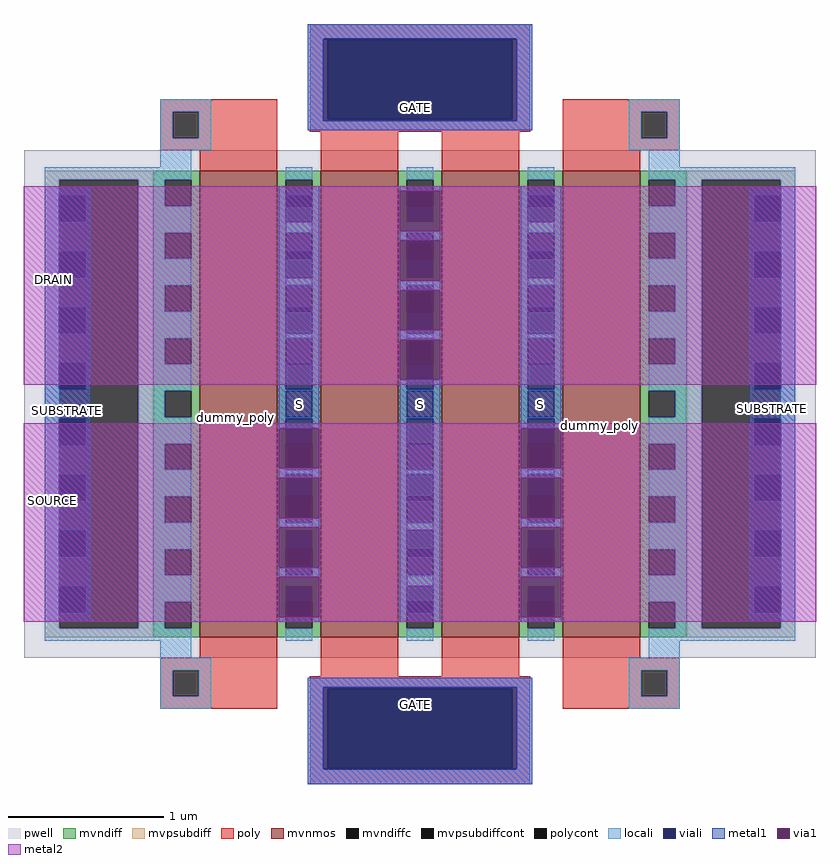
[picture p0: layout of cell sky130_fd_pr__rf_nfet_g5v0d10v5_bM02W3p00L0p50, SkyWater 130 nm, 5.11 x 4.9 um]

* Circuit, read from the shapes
.subckt sky130_fd_pr__rf_nfet_g5v0d10v5_bM02W3p00L0p50 DRAIN GATE SOURCE SUBSTRATE
XM1 SOURCE SUBSTRATE SUBSTRATE SUBSTRATE sky130_fd_pr__nfet_g5v0d10v5 w=3.01 l=0.5 m=2
XM2 DRAIN GATE SOURCE SUBSTRATE sky130_fd_pr__nfet_g5v0d10v5 w=3.01 l=0.5 m=2
.ends

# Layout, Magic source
magic
tech sky130A
magscale 1 2
<< pwell >>
rect 15 163 1035 817
<< mvnmos >>
rect 241 189 341 791
rect 397 189 497 791
rect 553 189 653 791
rect 709 189 809 791
<< mvndiff >>
rect 181 779 241 791
rect 181 745 196 779
rect 230 745 241 779
rect 181 711 241 745
rect 181 677 196 711
rect 230 677 241 711
rect 181 643 241 677
rect 181 609 196 643
rect 230 609 241 643
rect 181 575 241 609
rect 181 541 196 575
rect 230 541 241 575
rect 181 507 241 541
rect 181 473 196 507
rect 230 473 241 507
rect 181 439 241 473
rect 181 405 196 439
rect 230 405 241 439
rect 181 371 241 405
rect 181 337 196 371
rect 230 337 241 371
rect 181 303 241 337
rect 181 269 196 303
rect 230 269 241 303
rect 181 235 241 269
rect 181 201 196 235
rect 230 201 241 235
rect 181 189 241 201
rect 341 779 397 791
rect 341 745 352 779
rect 386 745 397 779
rect 341 711 397 745
rect 341 677 352 711
rect 386 677 397 711
rect 341 643 397 677
rect 341 609 352 643
rect 386 609 397 643
rect 341 575 397 609
rect 341 541 352 575
rect 386 541 397 575
rect 341 507 397 541
rect 341 473 352 507
rect 386 473 397 507
rect 341 439 397 473
rect 341 405 352 439
rect 386 405 397 439
rect 341 371 397 405
rect 341 337 352 371
rect 386 337 397 371
rect 341 303 397 337
rect 341 269 352 303
rect 386 269 397 303
rect 341 235 397 269
rect 341 201 352 235
rect 386 201 397 235
rect 341 189 397 201
rect 497 779 553 791
rect 497 745 508 779
rect 542 745 553 779
rect 497 711 553 745
rect 497 677 508 711
rect 542 677 553 711
rect 497 643 553 677
rect 497 609 508 643
rect 542 609 553 643
rect 497 575 553 609
rect 497 541 508 575
rect 542 541 553 575
rect 497 507 553 541
rect 497 473 508 507
rect 542 473 553 507
rect 497 439 553 473
rect 497 405 508 439
rect 542 405 553 439
rect 497 371 553 405
rect 497 337 508 371
rect 542 337 553 371
rect 497 303 553 337
rect 497 269 508 303
rect 542 269 553 303
rect 497 235 553 269
rect 497 201 508 235
rect 542 201 553 235
rect 497 189 553 201
rect 653 779 709 791
rect 653 745 664 779
rect 698 745 709 779
rect 653 711 709 745
rect 653 677 664 711
rect 698 677 709 711
rect 653 643 709 677
rect 653 609 664 643
rect 698 609 709 643
rect 653 575 709 609
rect 653 541 664 575
rect 698 541 709 575
rect 653 507 709 541
rect 653 473 664 507
rect 698 473 709 507
rect 653 439 709 473
rect 653 405 664 439
rect 698 405 709 439
rect 653 371 709 405
rect 653 337 664 371
rect 698 337 709 371
rect 653 303 709 337
rect 653 269 664 303
rect 698 269 709 303
rect 653 235 709 269
rect 653 201 664 235
rect 698 201 709 235
rect 653 189 709 201
rect 809 779 869 791
rect 809 745 820 779
rect 854 745 869 779
rect 809 711 869 745
rect 809 677 820 711
rect 854 677 869 711
rect 809 643 869 677
rect 809 609 820 643
rect 854 609 869 643
rect 809 575 869 609
rect 809 541 820 575
rect 854 541 869 575
rect 809 507 869 541
rect 809 473 820 507
rect 854 473 869 507
rect 809 439 869 473
rect 809 405 820 439
rect 854 405 869 439
rect 809 371 869 405
rect 809 337 820 371
rect 854 337 869 371
rect 809 303 869 337
rect 809 269 820 303
rect 854 269 869 303
rect 809 235 869 269
rect 809 201 820 235
rect 854 201 869 235
rect 809 189 869 201
<< mvndiffc >>
rect 196 745 230 779
rect 196 677 230 711
rect 196 609 230 643
rect 196 541 230 575
rect 196 473 230 507
rect 196 405 230 439
rect 196 337 230 371
rect 196 269 230 303
rect 196 201 230 235
rect 352 745 386 779
rect 352 677 386 711
rect 352 609 386 643
rect 352 541 386 575
rect 352 473 386 507
rect 352 405 386 439
rect 352 337 386 371
rect 352 269 386 303
rect 352 201 386 235
rect 508 745 542 779
rect 508 677 542 711
rect 508 609 542 643
rect 508 541 542 575
rect 508 473 542 507
rect 508 405 542 439
rect 508 337 542 371
rect 508 269 542 303
rect 508 201 542 235
rect 664 745 698 779
rect 664 677 698 711
rect 664 609 698 643
rect 664 541 698 575
rect 664 473 698 507
rect 664 405 698 439
rect 664 337 698 371
rect 664 269 698 303
rect 664 201 698 235
rect 820 745 854 779
rect 820 677 854 711
rect 820 609 854 643
rect 820 541 854 575
rect 820 473 854 507
rect 820 405 854 439
rect 820 337 854 371
rect 820 269 854 303
rect 820 201 854 235
<< mvpsubdiff >>
rect 41 779 181 791
rect 41 201 60 779
rect 162 201 181 779
rect 41 189 181 201
rect 869 779 1009 791
rect 869 201 888 779
rect 990 201 1009 779
rect 869 189 1009 201
<< mvpsubdiffcont >>
rect 60 201 162 779
rect 888 201 990 779
<< poly >>
rect 383 959 667 980
rect 190 867 341 883
rect 190 833 206 867
rect 240 833 341 867
rect 383 857 406 959
rect 644 857 667 959
rect 383 841 667 857
rect 709 867 860 883
rect 190 817 341 833
rect 241 791 341 817
rect 397 791 497 841
rect 553 791 653 841
rect 709 833 810 867
rect 844 833 860 867
rect 709 817 860 833
rect 709 791 809 817
rect 241 163 341 189
rect 190 147 341 163
rect 190 113 206 147
rect 240 113 341 147
rect 397 139 497 189
rect 553 139 653 189
rect 709 163 809 189
rect 709 147 860 163
rect 190 97 341 113
rect 383 123 667 139
rect 383 21 406 123
rect 644 21 667 123
rect 709 113 810 147
rect 844 113 860 147
rect 709 97 860 113
rect 383 0 667 21
<< polycont >>
rect 206 833 240 867
rect 406 857 644 959
rect 810 833 844 867
rect 206 113 240 147
rect 406 21 644 123
rect 810 113 844 147
<< locali >>
rect 383 961 667 980
rect 190 867 256 883
rect 190 833 206 867
rect 240 833 256 867
rect 383 855 400 961
rect 650 855 667 961
rect 383 843 667 855
rect 794 867 860 883
rect 190 817 256 833
rect 794 833 810 867
rect 844 833 860 867
rect 794 817 860 833
rect 190 795 230 817
rect 820 795 860 817
rect 41 779 230 795
rect 41 201 60 779
rect 162 745 196 779
rect 162 711 230 745
rect 162 677 196 711
rect 162 643 230 677
rect 162 609 196 643
rect 162 575 230 609
rect 162 541 196 575
rect 162 507 230 541
rect 162 473 196 507
rect 162 439 230 473
rect 162 405 196 439
rect 162 371 230 405
rect 162 337 196 371
rect 162 303 230 337
rect 162 269 196 303
rect 162 235 230 269
rect 162 201 196 235
rect 41 185 230 201
rect 352 779 386 795
rect 352 711 386 725
rect 352 643 386 653
rect 352 575 386 581
rect 352 507 386 509
rect 352 471 386 473
rect 352 399 386 405
rect 352 327 386 337
rect 352 255 386 269
rect 352 185 386 201
rect 508 779 542 795
rect 508 711 542 725
rect 508 643 542 653
rect 508 575 542 581
rect 508 507 542 509
rect 508 471 542 473
rect 508 399 542 405
rect 508 327 542 337
rect 508 255 542 269
rect 508 185 542 201
rect 664 779 698 795
rect 664 711 698 725
rect 664 643 698 653
rect 664 575 698 581
rect 664 507 698 509
rect 664 471 698 473
rect 664 399 698 405
rect 664 327 698 337
rect 664 255 698 269
rect 664 185 698 201
rect 820 779 1009 795
rect 854 745 888 779
rect 820 711 888 745
rect 854 677 888 711
rect 820 643 888 677
rect 854 609 888 643
rect 820 575 888 609
rect 854 541 888 575
rect 820 507 888 541
rect 854 473 888 507
rect 820 439 888 473
rect 854 405 888 439
rect 820 371 888 405
rect 854 337 888 371
rect 820 303 888 337
rect 854 269 888 303
rect 820 235 888 269
rect 854 201 888 235
rect 990 201 1009 779
rect 820 185 1009 201
rect 190 163 230 185
rect 820 163 860 185
rect 190 147 256 163
rect 190 113 206 147
rect 240 113 256 147
rect 794 147 860 163
rect 190 97 256 113
rect 383 125 667 137
rect 383 19 400 125
rect 650 19 667 125
rect 794 113 810 147
rect 844 113 860 147
rect 794 97 860 113
rect 383 0 667 19
<< viali >>
rect 400 959 650 961
rect 400 857 406 959
rect 406 857 644 959
rect 644 857 650 959
rect 400 855 650 857
rect 60 725 94 759
rect 60 653 94 687
rect 60 581 94 615
rect 60 509 94 543
rect 60 437 94 471
rect 60 365 94 399
rect 60 293 94 327
rect 60 221 94 255
rect 352 745 386 759
rect 352 725 386 745
rect 352 677 386 687
rect 352 653 386 677
rect 352 609 386 615
rect 352 581 386 609
rect 352 541 386 543
rect 352 509 386 541
rect 352 439 386 471
rect 352 437 386 439
rect 352 371 386 399
rect 352 365 386 371
rect 352 303 386 327
rect 352 293 386 303
rect 352 235 386 255
rect 352 221 386 235
rect 508 745 542 759
rect 508 725 542 745
rect 508 677 542 687
rect 508 653 542 677
rect 508 609 542 615
rect 508 581 542 609
rect 508 541 542 543
rect 508 509 542 541
rect 508 439 542 471
rect 508 437 542 439
rect 508 371 542 399
rect 508 365 542 371
rect 508 303 542 327
rect 508 293 542 303
rect 508 235 542 255
rect 508 221 542 235
rect 664 745 698 759
rect 664 725 698 745
rect 664 677 698 687
rect 664 653 698 677
rect 664 609 698 615
rect 664 581 698 609
rect 664 541 698 543
rect 664 509 698 541
rect 664 439 698 471
rect 664 437 698 439
rect 664 371 698 399
rect 664 365 698 371
rect 664 303 698 327
rect 664 293 698 303
rect 664 235 698 255
rect 664 221 698 235
rect 956 725 990 759
rect 956 653 990 687
rect 956 581 990 615
rect 956 509 990 543
rect 956 437 990 471
rect 956 365 990 399
rect 956 293 990 327
rect 956 221 990 255
rect 400 123 650 125
rect 400 21 406 123
rect 406 21 644 123
rect 644 21 650 123
rect 400 19 650 21
<< metal1 >>
rect 380 961 670 980
rect 380 855 400 961
rect 650 855 670 961
rect 380 843 670 855
rect 41 759 100 771
rect 41 725 60 759
rect 94 725 100 759
rect 41 687 100 725
rect 41 653 60 687
rect 94 653 100 687
rect 41 615 100 653
rect 41 581 60 615
rect 94 581 100 615
rect 41 543 100 581
rect 41 509 60 543
rect 94 509 100 543
rect 41 471 100 509
rect 41 437 60 471
rect 94 437 100 471
rect 41 399 100 437
rect 41 365 60 399
rect 94 365 100 399
rect 41 327 100 365
rect 41 293 60 327
rect 94 293 100 327
rect 41 255 100 293
rect 41 221 60 255
rect 94 221 100 255
rect 41 209 100 221
rect 343 759 395 771
rect 343 725 352 759
rect 386 725 395 759
rect 343 687 395 725
rect 343 653 352 687
rect 386 653 395 687
rect 343 615 395 653
rect 343 581 352 615
rect 386 581 395 615
rect 343 543 395 581
rect 343 509 352 543
rect 386 509 395 543
rect 343 471 395 509
rect 343 459 352 471
rect 386 459 395 471
rect 343 399 395 407
rect 343 395 352 399
rect 386 395 395 399
rect 343 331 395 343
rect 343 267 395 279
rect 343 209 395 215
rect 499 765 551 771
rect 499 701 551 713
rect 499 637 551 649
rect 499 581 508 585
rect 542 581 551 585
rect 499 573 551 581
rect 499 509 508 521
rect 542 509 551 521
rect 499 471 551 509
rect 499 437 508 471
rect 542 437 551 471
rect 499 399 551 437
rect 499 365 508 399
rect 542 365 551 399
rect 499 327 551 365
rect 499 293 508 327
rect 542 293 551 327
rect 499 255 551 293
rect 499 221 508 255
rect 542 221 551 255
rect 499 209 551 221
rect 655 759 707 771
rect 655 725 664 759
rect 698 725 707 759
rect 655 687 707 725
rect 655 653 664 687
rect 698 653 707 687
rect 655 615 707 653
rect 655 581 664 615
rect 698 581 707 615
rect 655 543 707 581
rect 655 509 664 543
rect 698 509 707 543
rect 655 471 707 509
rect 655 459 664 471
rect 698 459 707 471
rect 655 399 707 407
rect 655 395 664 399
rect 698 395 707 399
rect 655 331 707 343
rect 655 267 707 279
rect 655 209 707 215
rect 950 759 1009 771
rect 950 725 956 759
rect 990 725 1009 759
rect 950 687 1009 725
rect 950 653 956 687
rect 990 653 1009 687
rect 950 615 1009 653
rect 950 581 956 615
rect 990 581 1009 615
rect 950 543 1009 581
rect 950 509 956 543
rect 990 509 1009 543
rect 950 471 1009 509
rect 950 437 956 471
rect 990 437 1009 471
rect 950 399 1009 437
rect 950 365 956 399
rect 990 365 1009 399
rect 950 327 1009 365
rect 950 293 956 327
rect 990 293 1009 327
rect 950 255 1009 293
rect 950 221 956 255
rect 990 221 1009 255
rect 950 209 1009 221
rect 380 125 670 137
rect 380 19 400 125
rect 650 19 670 125
rect 380 0 670 19
<< via1 >>
rect 343 437 352 459
rect 352 437 386 459
rect 386 437 395 459
rect 343 407 395 437
rect 343 365 352 395
rect 352 365 386 395
rect 386 365 395 395
rect 343 343 395 365
rect 343 327 395 331
rect 343 293 352 327
rect 352 293 386 327
rect 386 293 395 327
rect 343 279 395 293
rect 343 255 395 267
rect 343 221 352 255
rect 352 221 386 255
rect 386 221 395 255
rect 343 215 395 221
rect 499 759 551 765
rect 499 725 508 759
rect 508 725 542 759
rect 542 725 551 759
rect 499 713 551 725
rect 499 687 551 701
rect 499 653 508 687
rect 508 653 542 687
rect 542 653 551 687
rect 499 649 551 653
rect 499 615 551 637
rect 499 585 508 615
rect 508 585 542 615
rect 542 585 551 615
rect 499 543 551 573
rect 499 521 508 543
rect 508 521 542 543
rect 542 521 551 543
rect 655 437 664 459
rect 664 437 698 459
rect 698 437 707 459
rect 655 407 707 437
rect 655 365 664 395
rect 664 365 698 395
rect 698 365 707 395
rect 655 343 707 365
rect 655 327 707 331
rect 655 293 664 327
rect 664 293 698 327
rect 698 293 707 327
rect 655 279 707 293
rect 655 255 707 267
rect 655 221 664 255
rect 664 221 698 255
rect 698 221 707 255
rect 655 215 707 221
<< metal2 >>
rect 14 765 1036 771
rect 14 713 499 765
rect 551 713 1036 765
rect 14 701 1036 713
rect 14 649 499 701
rect 551 649 1036 701
rect 14 637 1036 649
rect 14 585 499 637
rect 551 585 1036 637
rect 14 573 1036 585
rect 14 521 499 573
rect 551 521 1036 573
rect 14 515 1036 521
rect 14 459 1036 465
rect 14 407 343 459
rect 395 407 655 459
rect 707 407 1036 459
rect 14 395 1036 407
rect 14 343 343 395
rect 395 343 655 395
rect 707 343 1036 395
rect 14 331 1036 343
rect 14 279 343 331
rect 395 279 655 331
rect 707 279 1036 331
rect 14 267 1036 279
rect 14 215 343 267
rect 395 215 655 267
rect 707 215 1036 267
rect 14 209 1036 215
<< labels >>
flabel metal2 s 36 313 66 417 0 FreeSans 400 90 0 0 SOURCE
port 3 nsew
flabel metal2 s 35 602 70 699 0 FreeSans 400 270 0 0 DRAIN
port 1 nsew
flabel metal1 s 470 85 568 119 0 FreeSans 200 0 0 0 GATE
port 2 nsew
flabel metal1 s 470 855 568 889 0 FreeSans 400 0 0 0 GATE
port 2 nsew
flabel metal1 s 41 466 100 496 0 FreeSans 200 90 0 0 SUBSTRATE
port 4 nsew
flabel metal1 s 950 469 1009 499 0 FreeSans 200 90 0 0 SUBSTRATE
port 4 nsew
flabel comment s 369 490 369 490 0 FreeSans 300 0 0 0 S
flabel comment s 525 490 525 490 0 FreeSans 300 0 0 0 S
flabel comment s 681 490 681 490 0 FreeSans 300 0 0 0 S
flabel comment s 369 490 369 490 0 FreeSans 300 0 0 0 S
flabel comment s 525 490 525 490 0 FreeSans 300 0 0 0 D
flabel comment s 681 490 681 490 0 FreeSans 300 0 0 0 S
flabel comment s 757 462 757 462 0 FreeSans 400 90 0 0 dummy_poly
flabel comment s 287 473 287 473 0 FreeSans 400 90 0 0 dummy_poly
<< properties >>
string GDS_FILE $PDKPATH/libs.ref/sky130_fd_pr/gds/sky130_fd_pr.gds
string GDS_END 8682056
string GDS_START 8665332
<< end >>
